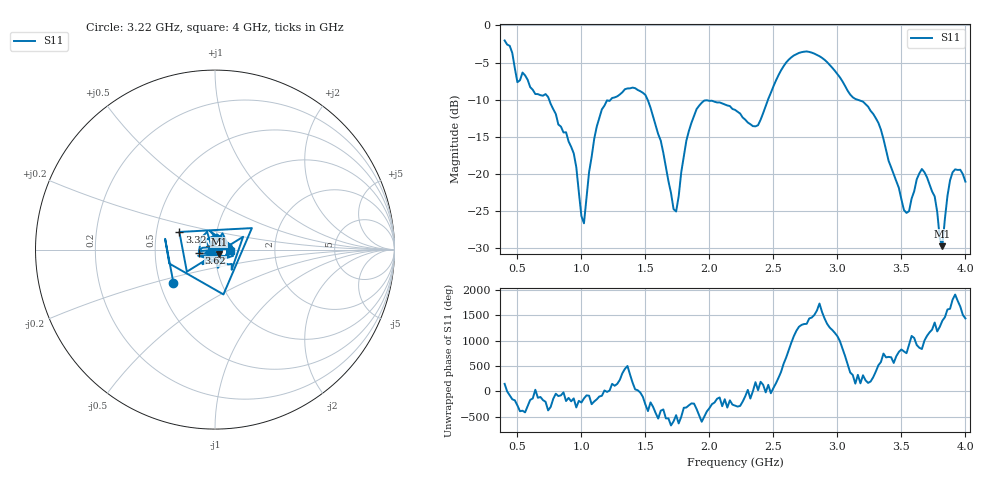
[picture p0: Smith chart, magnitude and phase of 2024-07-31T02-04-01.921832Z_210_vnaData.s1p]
!Created with skrf (http://scikit-rf.org).
# Hz S RI R 50.0
!freq ReS11 ImS11
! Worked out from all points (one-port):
!   181 points, 400 MHz to 4 GHz, reference 50 ohm
!   lowest |S11| = -29.7 dB at 3.82 GHz (marker M1), VSWR 1.07, Z = 52.1 - j2.58 ohm
!   |S11| at or under -10 dB: 748.1 MHz to 1.228 GHz (479.6 MHz wide, 48.5 % of centre); 1.518 GHz to 2.458 GHz (940 MHz wide, 47.3 % of centre); 3.16 GHz to end of sweep
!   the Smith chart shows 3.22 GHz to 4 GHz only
!   S11 on the Smith chart (normalised r, x): 3.22 GHz: 0.59, -0.24; 3.32 GHz: 0.66, +0.14; 3.62 GHz: 0.83, -0.03; 4 GHz: 1.20, -0.01
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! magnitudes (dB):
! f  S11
! 400 MHz  -2.0
! 500 MHz  -7.6
! 720 MHz  -9.2
! 860 MHz  -14.4
! 940 MHz  -17.2
! 1.02 GHz  -26.6
! 1.12 GHz  -13.6
! 1.3 GHz  -9.3
! 1.5 GHz  -9.4
! 1.62 GHz  -15.5
! 1.72 GHz  -24.7
! 1.76 GHz  -23.0
! 1.82 GHz  -15.5
! 1.9 GHz  -11.3
! 2.2 GHz  -11.4
! 2.38 GHz  -13.4
! 2.66 GHz  -4.0
! 2.88 GHz  -4.4
! 3.1 GHz  -9.3
! 3.22 GHz  -10.6
! 3.32 GHz  -13.1
! 3.56 GHz  -25.0
! 3.62 GHz  -20.7
! 3.66 GHz  -19.3
! 3.76 GHz  -23.0
! 3.82 GHz  -29.7
! 3.9 GHz  -19.7
! 4 GHz  -21.0
